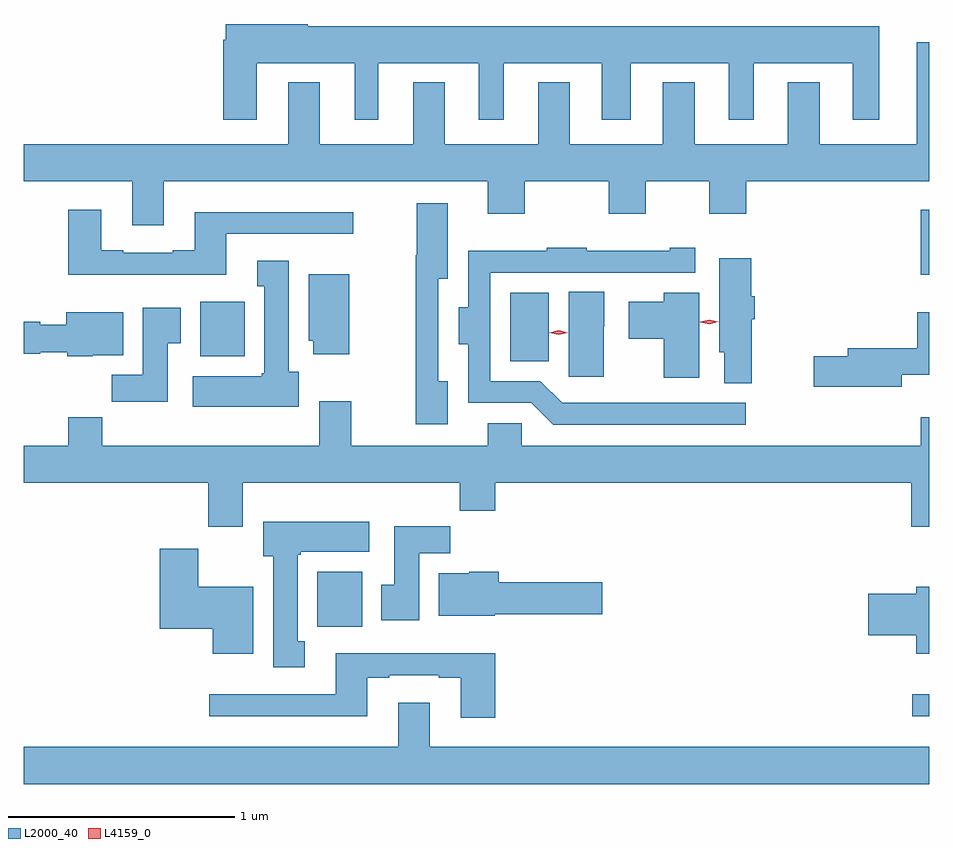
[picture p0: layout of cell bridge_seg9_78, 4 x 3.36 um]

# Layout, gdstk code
import gdstk
lib = gdstk.Library(unit=1e-6, precision=1e-09)
def R(c, l, rs):  # rectangles x0, y0, x1, y1
    for r in rs: c.add(gdstk.rectangle(r[:2], r[2:], *l))
def P(c, l, *ps):  # polygons
    for p in ps: c.add(gdstk.Polygon(p, *l))
L2000_40 = (2000, 40)
L4159_0 = (4159, 0)

bridge_seg9_78 = lib.new_cell('bridge_seg9_78')
R(bridge_seg9_78, L2000_40, [(1116.375,1220.696,1116.449,1220.793), (1113.746,1221.092,1113.943,1221.334), (1114.598,1222.265,1114.768,1222.567), (1113.227,1222.286,1113.424,1222.528), (1116.413,1222.646,1116.449,1222.933)])
P(bridge_seg9_78, L2000_40, [(1113.478,1223.582),(1113.911,1223.582),(1113.911,1223.331),(1114.015,1223.331),(1114.015,1223.582),(1114.46,1223.582),(1114.46,1223.331),(1114.57,1223.331),(1114.57,1223.582),(1115.003,1223.582),(1115.003,1223.331),(1115.131,1223.331),(1115.131,1223.582),(1115.564,1223.582),(1115.564,1223.331),(1115.674,1223.331),(1115.674,1223.582),(1116.113,1223.582),(1116.113,1223.331),(1116.229,1223.331),(1116.229,1223.746),(1113.703,1223.746),(1113.703,1223.755),(1113.341,1223.755),(1113.341,1223.686),(1113.329,1223.686),(1113.329,1223.331),(1113.478,1223.331)],
  [(1113.067,1223.06),(1114.499,1223.06),(1114.499,1222.917),(1114.663,1222.917),(1114.663,1223.06),(1115.033,1223.06),(1115.033,1222.917),(1115.197,1222.917),(1115.197,1223.06),(1115.477,1223.06),(1115.477,1222.917),(1115.641,1222.917),(1115.641,1223.06),(1116.449,1223.06),(1116.449,1223.674),(1116.395,1223.674),(1116.395,1223.224),(1115.965,1223.224),(1115.965,1223.497),(1115.825,1223.497),(1115.825,1223.224),(1115.413,1223.224),(1115.413,1223.497),(1115.273,1223.497),(1115.273,1223.224),(1114.861,1223.224),(1114.861,1223.497),(1114.721,1223.497),(1114.721,1223.224),(1114.309,1223.224),(1114.309,1223.497),(1114.169,1223.497),(1114.169,1223.224),(1113.757,1223.224),(1113.757,1223.497),(1113.617,1223.497),(1113.617,1223.224),(1112.449,1223.224),(1112.449,1223.06),(1112.927,1223.06),(1112.927,1222.866),(1113.067,1222.866)],
  [(1114.321,1222.177),(1114.281,1222.177),(1114.281,1222.628),(1114.321,1222.628),(1114.321,1222.963),(1114.184,1222.963),(1114.184,1222.732),(1114.18,1222.732),(1114.18,1221.987),(1114.321,1221.987)],
  [(1113.343,1222.827),(1113.904,1222.827),(1113.904,1222.924),(1113.203,1222.924),(1113.203,1222.756),(1113.107,1222.756),(1113.107,1222.743),(1112.887,1222.743),(1112.887,1222.756),(1112.791,1222.756),(1112.791,1222.933),(1112.644,1222.933),(1112.644,1222.646),(1113.343,1222.646)],
  [(1115.638,1222.08),(1114.827,1222.08),(1114.731,1222.176),(1114.509,1222.176),(1114.509,1222.656),(1115.416,1222.656),(1115.416,1222.765),(1115.303,1222.765),(1115.303,1222.753),(1114.937,1222.753),(1114.937,1222.765),(1114.759,1222.765),(1114.759,1222.753),(1114.413,1222.753),(1114.413,1222.504),(1114.37,1222.504),(1114.37,1222.34),(1114.412,1222.34),(1114.412,1222.08),(1114.692,1222.08),(1114.788,1221.984),(1115.638,1221.984)],
  [(1115.665,1222.451),(1115.678,1222.451),(1115.678,1222.551),(1115.663,1222.551),(1115.663,1222.72),(1115.522,1222.72),(1115.522,1222.305),(1115.543,1222.305),(1115.543,1222.167),(1115.665,1222.167)],
  [(1113.664,1222.218),(1113.619,1222.218),(1113.619,1222.708),(1113.479,1222.708),(1113.479,1222.595),(1113.512,1222.595),(1113.512,1222.212),(1113.499,1222.212),(1113.499,1222.198),(1113.195,1222.198),(1113.195,1222.064),(1113.664,1222.064)],
  [(1113.886,1222.648),(1113.707,1222.648),(1113.707,1222.356),(1113.728,1222.356),(1113.728,1222.296),(1113.886,1222.296)],
  [(1115.011,1222.419),(1115.014,1222.419),(1115.014,1222.571),(1114.856,1222.571),(1114.856,1222.197),(1115.011,1222.197)],
  [(1115.434,1222.567),(1115.276,1222.567),(1115.276,1222.528),(1115.121,1222.528),(1115.121,1222.364),(1115.276,1222.364),(1115.276,1222.191),(1115.434,1222.191)],
  [(1113.085,1222.345),(1113.142,1222.345),(1113.142,1222.501),(1112.975,1222.501),(1112.975,1222.204),(1112.836,1222.204),(1112.836,1222.086),(1113.085,1222.086)],
  [(1112.754,1222.292),(1112.887,1222.292),(1112.887,1222.48),(1112.636,1222.48),(1112.636,1222.426),(1112.52,1222.426),(1112.52,1222.439),(1112.449,1222.439),(1112.449,1222.297),(1112.52,1222.297),(1112.52,1222.304),(1112.64,1222.304),(1112.64,1222.286),(1112.754,1222.286)],
  [(1116.328,1222.205),(1116.449,1222.205),(1116.449,1222.48),(1116.398,1222.48),(1116.398,1222.322),(1116.089,1222.322),(1116.089,1222.286),(1115.94,1222.286),(1115.94,1222.151),(1116.328,1222.151)],
  [(1113.415,1221.728),(1114.375,1221.728),(1114.375,1221.604),(1114.532,1221.604),(1114.532,1221.728),(1116.371,1221.728),(1116.371,1221.534),(1116.449,1221.534),(1116.449,1222.016),(1116.413,1222.016),(1116.413,1221.892),(1114.65,1221.892),(1114.65,1221.99),(1114.499,1221.99),(1114.499,1221.892),(1113.895,1221.892),(1113.895,1222.087),(1113.755,1222.087),(1113.755,1221.892),(1112.795,1221.892),(1112.795,1222.016),(1112.644,1222.016),(1112.644,1221.892),(1112.449,1221.892),(1112.449,1221.728),(1113.263,1221.728),(1113.263,1221.534),(1113.415,1221.534)],
  [(1113.691,1221.026),(1113.658,1221.026),(1113.658,1221.409),(1113.672,1221.409),(1113.672,1221.422),(1113.976,1221.422),(1113.976,1221.556),(1113.506,1221.556),(1113.506,1221.402),(1113.551,1221.402),(1113.551,1220.913),(1113.691,1220.913)],
  [(1114.195,1221.416),(1114.334,1221.416),(1114.334,1221.535),(1114.085,1221.535),(1114.085,1221.276),(1114.028,1221.276),(1114.028,1221.12),(1114.195,1221.12)],
  [(1113.463,1221.268),(1113.22,1221.268),(1113.22,1221.436),(1113.05,1221.436),(1113.05,1221.083),(1113.284,1221.083),(1113.284,1220.972),(1113.463,1220.972)],
  [(1114.53,1221.146),(1115.005,1221.146),(1115.005,1221.288),(1114.547,1221.288),(1114.547,1221.334),(1114.416,1221.334),(1114.416,1221.328),(1114.283,1221.328),(1114.283,1221.14),(1114.53,1221.14)],
  [(1116.449,1221.268),(1116.392,1221.268),(1116.392,1221.236),(1116.18,1221.236),(1116.18,1221.053),(1116.392,1221.053),(1116.392,1220.972),(1116.449,1220.972)],
  [(1114.532,1220.974),(1113.827,1220.974),(1113.827,1220.793),(1113.267,1220.793),(1113.267,1220.696),(1113.967,1220.696),(1113.967,1220.865),(1114.063,1220.865),(1114.063,1220.877),(1114.283,1220.877),(1114.283,1220.865),(1114.379,1220.865),(1114.379,1220.688),(1114.532,1220.688)],
  [(1116.449,1220.56),(1114.243,1220.56),(1114.243,1220.755),(1114.103,1220.755),(1114.103,1220.56),(1112.449,1220.56),(1112.449,1220.396),(1116.449,1220.396)])
P(bridge_seg9_78, L4159_0, [(1115.478,1222.428),(1115.438,1222.437),(1115.438,1222.438),(1115.438,1222.438),(1115.478,1222.448),(1115.518,1222.438),(1115.518,1222.438),(1115.518,1222.438)],
  [(1114.812,1222.381),(1114.771,1222.39),(1114.771,1222.391),(1114.771,1222.391),(1114.812,1222.401),(1114.852,1222.391),(1114.852,1222.391),(1114.852,1222.39)])

lib.write_gds('bridge_seg9_78.gds')
